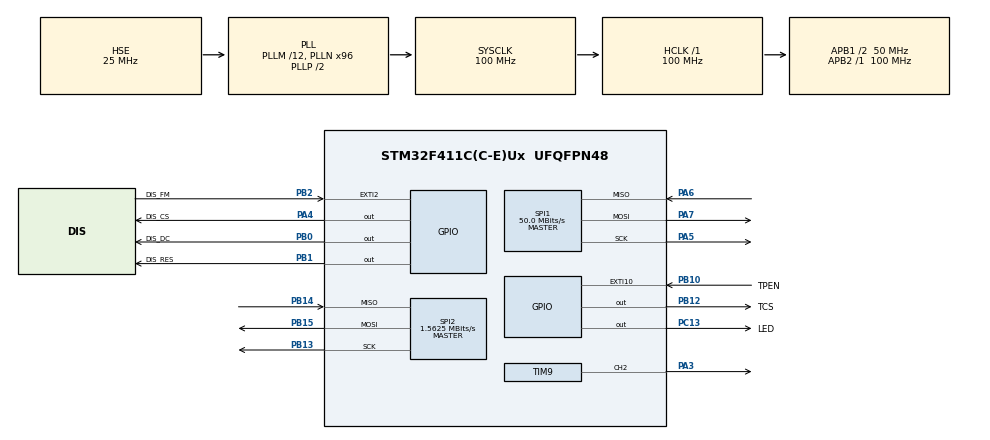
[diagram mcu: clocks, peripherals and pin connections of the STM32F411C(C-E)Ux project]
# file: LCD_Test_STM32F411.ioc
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Dma.Request0=SPI1_TX
Dma.SPI1_TX.0.Direction=DMA_MEMORY_TO_PERIPH
Dma.SPI1_TX.0.FIFOMode=DMA_FIFOMODE_DISABLE
Dma.SPI1_TX.0.Instance=DMA2_Stream2
Dma.SPI1_TX.0.MemDataAlignment=DMA_MDATAALIGN_BYTE
Dma.SPI1_TX.0.MemInc=DMA_MINC_ENABLE
Dma.SPI1_TX.0.Mode=DMA_NORMAL
Dma.SPI1_TX.0.PeriphDataAlignment=DMA_PDATAALIGN_BYTE
Dma.SPI1_TX.0.PeriphInc=DMA_PINC_DISABLE
Dma.SPI1_TX.0.Priority=DMA_PRIORITY_MEDIUM
Mcu.Family=STM32F4
Mcu.Name=STM32F411C(C-E)Ux
Mcu.Package=UFQFPN48
NVIC.DMA2_Stream2_IRQn=true\:0\:0\:false\:false\:true\:false\:true\:true
NVIC.PriorityGroup=NVIC_PRIORITYGROUP_4
PA13.Mode=Serial_Wire
PA13.Signal=SYS_JTMS-SWDIO
PA14.Mode=Serial_Wire
PA14.Signal=SYS_JTCK-SWCLK
PA3.Signal=S_TIM9_CH2
PA4.GPIO_Label=DIS_CS
PA4.PinState=GPIO_PIN_SET
PA4.Signal=GPIO_Output
PA5.Mode=Full_Duplex_Master
PA5.Signal=SPI1_SCK
PA6.Mode=Full_Duplex_Master
PA6.Signal=SPI1_MISO
PA7.Mode=Full_Duplex_Master
PA7.Signal=SPI1_MOSI
PB0.GPIO_Label=DIS_DC
PB0.PinState=GPIO_PIN_SET
PB0.Signal=GPIO_Output
PB1.GPIO_Label=DIS_RES
PB1.Signal=GPIO_Output
PB10.GPIO_Label=TPEN
PB10.Signal=GPXTI10
PB12.GPIO_Label=TCS
PB12.PinState=GPIO_PIN_SET
PB12.Signal=GPIO_Output
PB13.Mode=Full_Duplex_Master
PB13.Signal=SPI2_SCK
PB14.Mode=Full_Duplex_Master
PB14.Signal=SPI2_MISO
PB15.Mode=Full_Duplex_Master
PB15.Signal=SPI2_MOSI
PB2.GPIO_Label=DIS_FM
PB2.Signal=GPXTI2
PC13-ANTI_TAMP.GPIO_Label=LED
PC13-ANTI_TAMP.PinState=GPIO_PIN_SET
PC13-ANTI_TAMP.Signal=GPIO_Output
PC14-OSC32_IN.Mode=LSE-External-Oscillator
PC14-OSC32_IN.Signal=RCC_OSC32_IN
PC15-OSC32_OUT.Mode=LSE-External-Oscillator
PC15-OSC32_OUT.Signal=RCC_OSC32_OUT
PH0\ -\ OSC_IN.Mode=HSE-External-Oscillator
PH0\ -\ OSC_IN.Signal=RCC_OSC_IN
PH1\ -\ OSC_OUT.Mode=HSE-External-Oscillator
PH1\ -\ OSC_OUT.Signal=RCC_OSC_OUT
ProjectManager.HeapSize=0x200
ProjectManager.StackSize=0x400
ProjectManager.TargetToolchain=MDK-ARM V5.27
RCC.48MHZClocksFreq_Value=50000000
RCC.AHBFreq_Value=100000000
RCC.APB1CLKDivider=RCC_HCLK_DIV2
RCC.APB1Freq_Value=50000000
RCC.APB1TimFreq_Value=100000000
RCC.APB2Freq_Value=100000000
RCC.APB2TimFreq_Value=100000000
RCC.CortexFreq_Value=100000000
RCC.HCLKFreq_Value=100000000
RCC.HSE_VALUE=25000000
RCC.HSI_VALUE=16000000
RCC.PLLM=12
RCC.PLLN=96
RCC.PLLSourceVirtual=RCC_PLLSOURCE_HSE
RCC.RCC_RTC_Clock_Source=RCC_RTCCLKSOURCE_LSE
RCC.SYSCLKFreq_VALUE=100000000
RCC.SYSCLKSource=RCC_SYSCLKSOURCE_PLLCLK
RCC.VCOOutputFreq_Value=200000000
SH.S_TIM9_CH2.0=TIM9_CH2,PWM Generation2 CH2
SPI1.BaudRatePrescaler=SPI_BAUDRATEPRESCALER_2
SPI1.CalculateBaudRate=50.0 MBits/s
SPI1.Direction=SPI_DIRECTION_2LINES
SPI1.Mode=SPI_MODE_MASTER
SPI1.VirtualType=VM_MASTER
SPI2.BaudRatePrescaler=SPI_BAUDRATEPRESCALER_32
SPI2.CalculateBaudRate=1.5625 MBits/s
SPI2.Direction=SPI_DIRECTION_2LINES
SPI2.Mode=SPI_MODE_MASTER
SPI2.VirtualType=VM_MASTER
TIM9.Channel-PWM\ Generation2\ CH2=TIM_CHANNEL_2
TIM9.Period=100-1
TIM9.Prescaler=50-1
VP_RTC_VS_RTC_Activate.Mode=RTC_Enabled
board=custom

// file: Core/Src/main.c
/* USER CODE BEGIN Header */

/*---------------------------------------
- WeAct Studio Official Link
- taobao: weactstudio.taobao.com
- aliexpress: weactstudio.aliexpress.com
- github: github.com/WeActTC
- gitee: gitee.com/WeAct-TC
- blog: www.weact-tc.cn
---------------------------------------*/

/* USER CODE END Header */
#include "main.h"
#include "dma.h"
#include "rtc.h"
#include "spi.h"
#include "tim.h"
#include "gpio.h"

/* USER CODE BEGIN Includes */
#include "lcd.h"
#include "logo.h"
#include "dwt_stm32_delay.h"
#include "touch_xpt2046.h"
#include <stdio.h>
/* USER CODE END Includes */

/* USER CODE BEGIN PV */
uint8_t cmd;
uint16_t tp_result;
/* USER CODE END PV */

void SystemClock_Config(void);

int main(void)
{
  /* USER CODE BEGIN 1 */
  char textbuf[50];
  /* USER CODE END 1 */

  /* MCU Configuration--------------------------------------------------------*/

  /* Reset of all peripherals, Initializes the Flash interface and the Systick. */
  HAL_Init();

  /* Configure the system clock */
  SystemClock_Config();

  /* Initialize all configured peripherals */
  MX_GPIO_Init();
  MX_DMA_Init();
  MX_SPI1_Init();
  MX_SPI2_Init();
  MX_RTC_Init();
  MX_TIM9_Init();
  /* USER CODE BEGIN 2 */
  DWT_Delay_Init();

  LCD_Init();

  HAL_Delay(100);
  HAL_TIM_PWM_Start(&htim9, TIM_CHANNEL_2);
  __HAL_TIM_SetCompare(&htim9, TIM_CHANNEL_2, 30);

  tp_dev.init();

  LCD_Clear(BLACK);

  LCD_ShowPicture(0, 0, 240, 40, gImage_logo);

  if(lcddev.id == 0)
    LCD_ShowString(10, 40, (uint8_t *)"2.8 Inch ILI9341 LCD", RED, BLACK, 16, 0);
  else
    LCD_ShowString(10, 40, (uint8_t *)"2.8 Inch ST7789 LCD", RED, BLACK, 16, 0);

  LCD_ShowString(10, 56, (uint8_t *)"LCD_W:", GREEN, BLACK, 16, 0);
  LCD_ShowIntNum(58, 56, LCD_W, 3, WHITE, BLACK, 16);

  LCD_ShowString(90, 56, (uint8_t *)"LCD_H:", BLUE, BLACK, 16, 0);
  LCD_ShowIntNum(138, 56, LCD_H, 3, WHITE, BLACK, 16);

  for (uint8_t j = 0; j < 5; j++)
  {
    LCD_ShowPicture(0, 120 + j * 40, 240, 40, gImage_logo);
  }
  HAL_Delay(1000);
  LCD_Fill(0, 120, 240, 320, BLACK);

  uint32_t tick;
  uint32_t vcc;
  uint16_t vauxin;

  uint32_t brightness;
  uint32_t brightness_lux, brightness_set,brightness_min_set;
  brightness_min_set = 15;
  /* USER CODE END 2 */

  /* Infinite loop */
  /* USER CODE BEGIN WHILE */
  while (1)
  {
//    if (tick % 500 == 0)
//    {
//      LCD_ShowPicture(0, 200, 240, 40, gImage_logo);
//    }
//    if (tick % 1000 == 0)
//    {
//      LCD_Fill(0, 200, 240, 240, BLACK);
//    }

    if (tick % 5 == 0)
    {
      if (tp_dev.sta & TP_PRES_DOWN)
      {
        sprintf(textbuf, "Touch X:%5d,Y:%5d", tp_dev.x, tp_dev.y);
        LCD_ShowString(10, 72, (uint8_t *)textbuf, WHITE, BLACK, 16, 0);
        if (tp_dev.x < lcddev.width && tp_dev.y < lcddev.height)
          LCD_DrawPoint(tp_dev.x, tp_dev.y, RED);
      }
    }

    if (tick % 500 == 0)
    {
      vcc = TP_Read_Vbat();
      sprintf(textbuf, "VCC Voltage:%4dmV", vcc);
      LCD_ShowString(10, 88, (uint8_t *)textbuf, WHITE, BLACK, 16, 0);
    }

    if (tick % 80 == 0)
    {
      vauxin = TP_Read_AUXIN();
      sprintf(textbuf, "AUX AD Value:%4d", vauxin);
      LCD_ShowString(10, 104, (uint8_t *)textbuf, WHITE, BLACK, 16, 0);

      // set brightness
      brightness_lux = vauxin / 100 * 3;
      if (brightness_lux >= (100-brightness_min_set))
        brightness_lux = 100-brightness_min_set;
      brightness_set = 100 - brightness_lux;

      if (brightness > brightness_set)
      {
        if (brightness - brightness_set < 5)
          brightness = brightness_set;
        else
          brightness -= 5;
      }
      else if (brightness < brightness_set)
      {
        if (brightness_set - brightness < 5)
          brightness = brightness_set;
        else
          brightness += 5;
      }
      __HAL_TIM_SetCompare(&htim9, TIM_CHANNEL_2, brightness);
    }

    tp_dev.scan(0);

    tick++;
    HAL_Delay(0);
    /* USER CODE END WHILE */

  }
}

void SystemClock_Config(void)
{
  RCC_OscInitTypeDef RCC_OscInitStruct = {0};
  RCC_ClkInitTypeDef RCC_ClkInitStruct = {0};

  /** Configure the main internal regulator output voltage
  */
  __HAL_RCC_PWR_CLK_ENABLE();
  __HAL_PWR_VOLTAGESCALING_CONFIG(PWR_REGULATOR_VOLTAGE_SCALE1);

  /** Initializes the RCC Oscillators according to the specified parameters
  * in the RCC_OscInitTypeDef structure.
  */
  RCC_OscInitStruct.OscillatorType = RCC_OSCILLATORTYPE_HSE|RCC_OSCILLATORTYPE_LSE;
  RCC_OscInitStruct.HSEState = RCC_HSE_ON;
  RCC_OscInitStruct.LSEState = RCC_LSE_ON;
  RCC_OscInitStruct.PLL.PLLState = RCC_PLL_ON;
  RCC_OscInitStruct.PLL.PLLSource = RCC_PLLSOURCE_HSE;
  RCC_OscInitStruct.PLL.PLLM = 12;
  RCC_OscInitStruct.PLL.PLLN = 96;
  RCC_OscInitStruct.PLL.PLLP = RCC_PLLP_DIV2;
  RCC_OscInitStruct.PLL.PLLQ = 4;
  if (HAL_RCC_OscConfig(&RCC_OscInitStruct) != HAL_OK)
  {
    Error_Handler();
  }

  /** Initializes the CPU, AHB and APB buses clocks
  */
  RCC_ClkInitStruct.ClockType = RCC_CLOCKTYPE_HCLK|RCC_CLOCKTYPE_SYSCLK
                              |RCC_CLOCKTYPE_PCLK1|RCC_CLOCKTYPE_PCLK2;
  RCC_ClkInitStruct.SYSCLKSource = RCC_SYSCLKSOURCE_PLLCLK;
  RCC_ClkInitStruct.AHBCLKDivider = RCC_SYSCLK_DIV1;
  RCC_ClkInitStruct.APB1CLKDivider = RCC_HCLK_DIV2;
  RCC_ClkInitStruct.APB2CLKDivider = RCC_HCLK_DIV1;

  if (HAL_RCC_ClockConfig(&RCC_ClkInitStruct, FLASH_LATENCY_3) != HAL_OK)
  {
    Error_Handler();
  }
}

void Error_Handler(void)
{
  __disable_irq();
  while (1)
  {
  }
}
